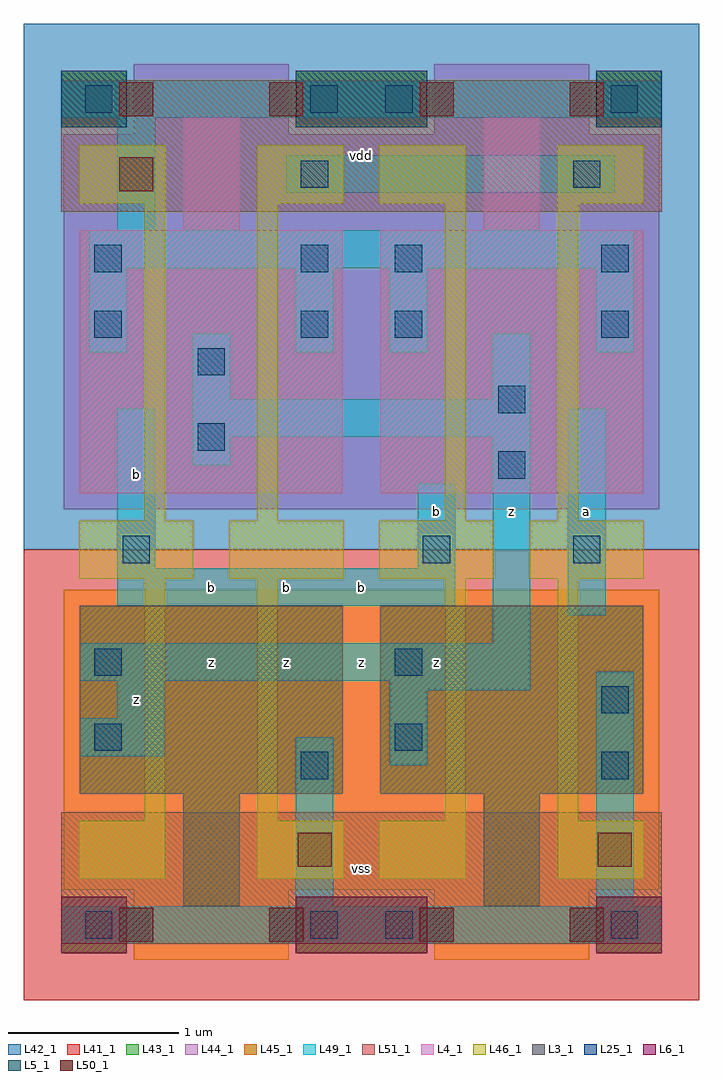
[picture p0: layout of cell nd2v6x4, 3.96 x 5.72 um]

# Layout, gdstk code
import gdstk
lib = gdstk.Library(unit=1e-6, precision=1e-09)
def R(c, l, rs):  # rectangles x0, y0, x1, y1
    for r in rs: c.add(gdstk.rectangle(r[:2], r[2:], *l))
def A(c, l, x, y, w, h, nx, ny, dx, dy):  # array of equal rectangles
    R(c, l, [(x+i*dx, y+j*dy, x+i*dx+w, y+j*dy+h) for i in range(nx) for j in range(ny)])
L3_1 = (3, 1)
L4_1 = (4, 1)
L5_1 = (5, 1)
L6_1 = (6, 1)
L25_1 = (25, 1)
L41_1 = (41, 1)
L42_1 = (42, 1)
L43_1 = (43, 1)
L44_1 = (44, 1)
L45_1 = (45, 1)
L46_1 = (46, 1)
L49_1 = (49, 1)
L50_1 = (50, 1)
L51_1 = (51, 1)

nd2v6x4 = lib.new_cell('nd2v6x4')
R(nd2v6x4, L3_1, [(0.715,0.11,1.045,0.77), (2.475,0.11,2.805,0.77), (0.11,0.77,1.65,1.87), (1.87,0.77,3.41,1.87)])
R(nd2v6x4, L4_1, [(0.11,2.53,1.65,4.07), (1.87,2.53,3.41,4.07), (0.715,4.07,1.045,4.73), (2.475,4.07,2.805,4.73)])
R(nd2v6x4, L5_1, [(0,4.675,0.385,5.005), (1.375,4.675,2.145,5.005), (3.135,4.675,3.52,5.005)])
R(nd2v6x4, L6_1, [(0,-0.165,0.385,0.165), (1.375,-0.165,2.145,0.165), (3.135,-0.165,3.52,0.165)])
R(nd2v6x4, L25_1, [(0.14,-0.08,0.3,0.08), (1.46,-0.08,1.62,0.08), (1.9,-0.08,2.06,0.08), (3.22,-0.08,3.38,0.08), (1.405,0.855,1.565,1.015), (3.165,0.855,3.325,1.015), (0.195,1.02,0.355,1.18), (1.955,1.02,2.115,1.18), (3.165,1.24,3.325,1.4), (0.195,1.46,0.355,1.62), (1.955,1.46,2.115,1.62), (0.36,2.12,0.52,2.28), (2.12,2.12,2.28,2.28), (3,2.12,3.16,2.28), (2.56,2.615,2.72,2.775), (0.8,2.78,0.96,2.94), (2.56,3,2.72,3.16), (0.8,3.22,0.96,3.38), (0.195,3.44,0.355,3.6), (1.405,3.44,1.565,3.6), (1.955,3.44,2.115,3.6), (3.165,3.44,3.325,3.6), (0.195,3.825,0.355,3.985), (1.405,3.825,1.565,3.985), (1.955,3.825,2.115,3.985), (3.165,3.825,3.325,3.985), (1.405,4.32,1.565,4.48), (3,4.32,3.16,4.48), (0.14,4.76,0.3,4.92), (1.46,4.76,1.62,4.92), (1.9,4.76,2.06,4.92), (3.22,4.76,3.38,4.92)])
R(nd2v6x4, L41_1, [(-0.22,-0.44,3.74,2.2)])
R(nd2v6x4, L42_1, [(-0.22,2.2,3.74,5.28)])
R(nd2v6x4, L43_1, [(0,-0.165,0.385,0.165), (1.375,-0.165,2.145,0.165), (3.135,-0.165,3.52,0.165), (0.715,0.11,1.045,0.77), (2.475,0.11,2.805,0.77), (0.11,0.77,1.65,1.87), (1.87,0.77,3.41,1.87), (0.11,2.53,1.65,4.07), (1.87,2.53,3.41,4.07), (0.715,4.07,1.045,4.73), (2.475,4.07,2.805,4.73), (0,4.675,0.385,5.005), (1.375,4.675,2.145,5.005), (3.135,4.675,3.52,5.005)])
R(nd2v6x4, L44_1, [(0.015,2.435,3.505,4.635), (0.425,4.635,1.335,5.045), (2.185,4.635,3.095,5.045)])
R(nd2v6x4, L45_1, [(0.425,-0.205,1.335,0.205), (2.185,-0.205,3.095,0.205), (0.015,0.205,3.505,1.965)])
A(nd2v6x4, L46_1, 0.105, 2.03, 0.67, 0.34, 4, 1, 0.88, 0)
R(nd2v6x4, L46_1, [(0.105,0.27,0.61,0.61), (1.15,0.27,1.655,0.61), (1.865,0.27,2.37,0.61), (2.91,0.27,3.415,0.61), (0.49,0.61,0.61,2.03), (1.15,0.61,1.27,2.03), (2.25,0.61,2.37,2.03), (2.91,0.61,3.03,2.03), (0.49,2.37,0.61,4.23), (1.15,2.37,1.27,4.23), (2.25,2.37,2.37,4.23), (2.91,2.37,3.03,4.23), (0.105,4.23,0.61,4.57), (1.15,4.23,1.655,4.57), (1.865,4.23,2.37,4.57), (2.91,4.23,3.415,4.57)])
R(nd2v6x4, L49_1, [(0,-0.11,3.52,0.11), (1.375,0.11,1.595,1.1), (3.135,0.11,3.355,1.485), (1.925,0.935,2.145,1.375), (0.11,0.99,0.605,1.21), (0.33,1.21,0.605,1.43), (1.925,1.375,2.75,1.43), (0.11,1.43,2.75,1.65), (2.53,1.65,2.75,2.86), (2.97,1.815,3.19,3.025), (0.33,1.87,2.31,2.09), (0.33,2.09,0.55,3.025), (2.09,2.09,2.31,2.585), (0.77,2.695,0.99,2.86), (0.77,2.86,2.75,3.08), (0.77,3.08,0.99,3.465), (2.53,3.08,2.75,3.465), (0.165,3.355,0.385,3.85), (1.375,3.355,1.595,3.85), (1.925,3.355,2.145,3.85), (3.135,3.355,3.355,3.85), (0.165,3.85,3.355,4.07), (0.33,4.07,0.55,4.73), (1.32,4.29,3.245,4.51), (0,4.73,3.52,4.95)])
A(nd2v6x4, L50_1, 0.34, -0.1, 0.2, 0.2, 4, 2, 0.88, 4.84)
R(nd2v6x4, L50_1, [(1.385,0.34,1.585,0.54), (3.145,0.34,3.345,0.54), (0.34,4.3,0.54,4.5)])
R(nd2v6x4, L51_1, [(0,-0.11,3.52,0.66), (0,4.18,3.52,4.95)])
nd2v6x4.add(gdstk.Label('z', (0.44,1.32), layer=49, texttype=1))
nd2v6x4.add(gdstk.Label('b', (0.44,2.64), layer=49, texttype=1))
nd2v6x4.add(gdstk.Label('z', (0.88,1.54), layer=49, texttype=1))
nd2v6x4.add(gdstk.Label('b', (0.88,1.98), layer=49, texttype=1))
nd2v6x4.add(gdstk.Label('z', (1.32,1.54), layer=49, texttype=1))
nd2v6x4.add(gdstk.Label('z', (1.76,1.54), layer=49, texttype=1))
nd2v6x4.add(gdstk.Label('b', (1.76,1.98), layer=49, texttype=1))
nd2v6x4.add(gdstk.Label('b', (1.32,1.98), layer=49, texttype=1))
nd2v6x4.add(gdstk.Label('z', (2.2,1.54), layer=49, texttype=1))
nd2v6x4.add(gdstk.Label('b', (2.2,2.42), layer=49, texttype=1))
nd2v6x4.add(gdstk.Label('z', (2.64,2.42), layer=49, texttype=1))
nd2v6x4.add(gdstk.Label('a', (3.08,2.42), layer=49, texttype=1))
nd2v6x4.add(gdstk.Label('vss', (1.76,0.33), layer=51, texttype=1))
nd2v6x4.add(gdstk.Label('vdd', (1.76,4.51), layer=51, texttype=1))

lib.write_gds('nd2v6x4.gds')
